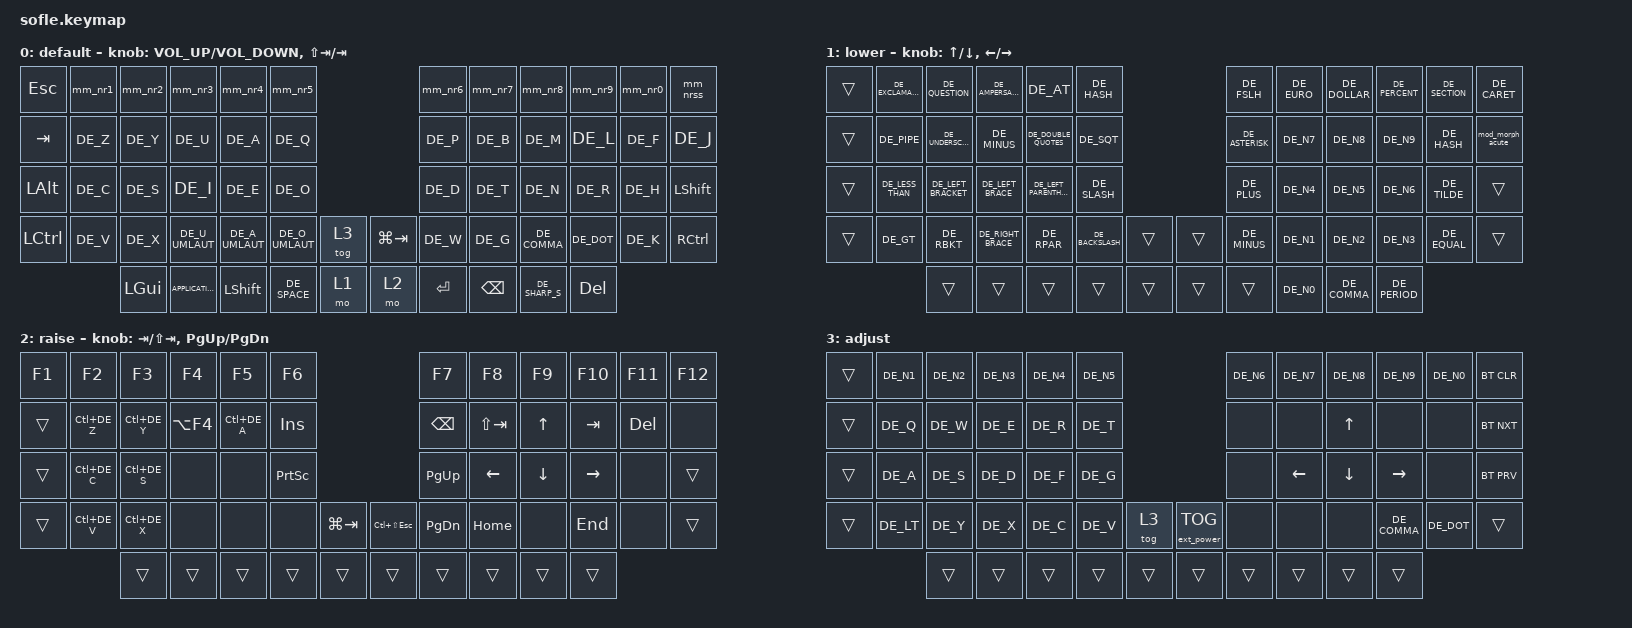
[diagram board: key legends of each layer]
/*
 * Copyright (c) 2020 The ZMK Contributors
 *
 * SPDX-License-Identifier: MIT
 */

#include "keys_de.h"
#include <behaviors/mouse_keys.dtsi>
#include <behaviors.dtsi>
#include <dt-bindings/zmk/bt.h>
#include <dt-bindings/zmk/ext_power.h>
#include <dt-bindings/zmk/keys.h>

#define BASE 0
#define LOWER 1
#define RAISE 2
#define ADJUST 3

/ {
    // Activate ADJUST layer by pressing raise and lower

    conditional_layers { compatible = "zmk,conditional-layers"; };

    behaviors {
        mod_morph_doubleQuote: mod_morph_doubleQuote {
            compatible = "zmk,behavior-mod-morph";
            label = "MOD_MORPH_DOUBLEQUOTE";
            bindings = <&kp DE_DOUBLE_QUOTES>, <&kp DE_SQT>;

            #binding-cells = <0>;
            mods = <(MOD_LSFT)>;
        };

        mod_morph_underscore: mod_morph_underscore {
            compatible = "zmk,behavior-mod-morph";
            label = "MOD_MORPH_UNDERSCORE";
            bindings = <&kp DE_MINUS>, <&kp DE_UNDERSCORE>;

            #binding-cells = <0>;
            mods = <(MOD_LSFT)>;
        };

        mod_dance_parantheses: mod_dance_parantheses {
            compatible = "zmk,behavior-tap-dance";
            label = "MOD_DANCE_PARANTHESES";
            #binding-cells = <0>;
            bindings = <&kp DE_LEFT_PARENTHESIS>, <&kp DE_RPAR>;

            tapping-term-ms = <200>;
        };

        mm_nr1: mm_nr1 {
            compatible = "zmk,behavior-mod-morph";
            label = "MM_NR1";
            bindings = <&kp F1>, <&kp DE_EXCLAMATION>;

            #binding-cells = <0>;
            mods = <(MOD_RSFT|MOD_LSFT)>;
        };

        mm_nr3: mm_nr3 {
            compatible = "zmk,behavior-mod-morph";
            label = "MM_NR3";
            bindings = <&kp F3>, <&kp DE_AMPERSAND>;

            #binding-cells = <0>;
            mods = <(MOD_RSFT|MOD_LSFT)>;
        };

        mm_nr4: mm_nr4 {
            compatible = "zmk,behavior-mod-morph";
            label = "MM_NR4";
            bindings = <&kp F4>, <&kp DE_AT_SIGN>;

            #binding-cells = <0>;
            mods = <(MOD_RSFT|MOD_LSFT)>;
        };

        mm_nr5: mm_nr5 {
            compatible = "zmk,behavior-mod-morph";
            label = "MM_NR5";
            bindings = <&kp F5>, <&kp DE_HASH>;

            #binding-cells = <0>;
            mods = <(MOD_RSFT|MOD_LSFT)>;
        };

        mm_nr6: mm_nr6 {
            compatible = "zmk,behavior-mod-morph";
            label = "MM_NR6";
            bindings = <&kp F6>, <&kp DE_SQT>;

            #binding-cells = <0>;
            mods = <(MOD_RSFT|MOD_LSFT)>;
        };

        mm_nr7: mm_nr7 {
            compatible = "zmk,behavior-mod-morph";
            label = "MM_NR7";
            bindings = <&kp F7>, <&kp DE_DOUBLE_QUOTES>;

            #binding-cells = <0>;
            mods = <(MOD_RSFT|MOD_LSFT)>;
        };

        mm_nr8: mm_nr8 {
            compatible = "zmk,behavior-mod-morph";
            label = "MM_NR8";
            bindings = <&kp F8>, <&kp DE_MINUS>;

            #binding-cells = <0>;
            mods = <(MOD_RSFT|MOD_LSFT)>;
        };

        mm_nr9: mm_nr9 {
            compatible = "zmk,behavior-mod-morph";
            label = "MM_NR9";
            bindings = <&kp F9>, <&kp DE_UNDERSCORE>;

            #binding-cells = <0>;
            mods = <(MOD_RSFT|MOD_LSFT)>;
        };

        mm_nr0: mm_nr0 {
            compatible = "zmk,behavior-mod-morph";
            label = "MM_NR0";
            bindings = <&kp F10>, <&kp DE_EQUAL>;

            #binding-cells = <0>;
            mods = <(MOD_RSFT|MOD_LSFT)>;
        };

        mm_nr2: mm_nr2 {
            compatible = "zmk,behavior-mod-morph";
            label = "MM_NR2";
            bindings = <&kp F2>, <&kp DE_QUESTION>;

            #binding-cells = <0>;
            mods = <(MOD_RSFT|MOD_LSFT)>;
        };

        mm_nrss: mm_nrss {
            compatible = "zmk,behavior-mod-morph";
            label = "MM_NRSS";
            bindings = <&kp DE_SHARP_S>, <&kp DE_CARET>;

            #binding-cells = <0>;
            mods = <(MOD_RSFT|MOD_LSFT)>;
        };

        mod_morph_acute: mod_morph_acute {
            compatible = "zmk,behavior-mod-morph";
            label = "MOD_MORPH_ACUTE";
            bindings = <&kp DE_ACUTE>, <&kp DE_GRAVE>;

            #binding-cells = <0>;
            mods = <(MOD_LSFT|MOD_RSFT)>;
        };

        mod_morph_delete: mod_morph_delete {
            compatible = "zmk,behavior-mod-morph";
            label = "MOD_MORPH_DELETE";
            bindings = <&kp BACKSPACE>, <&kp DELETE>;

            #binding-cells = <0>;
            mods = <(MOD_LSFT)>;
        };

        skq: sticky_key_quick_release {
            compatible = "zmk,behavior-sticky-key";
            #binding-cells = <1>;
            bindings = <&kp>;
            release-after-ms = <500>; // your timeout
            quick-release;             // boolean
            ignore-modifiers;          // keep chaining if you want it
        };
    };

    combos {
        compatible = "zmk,combos";

        shift {
            bindings = <&kp LEFT_SHIFT>;
            key-positions = <54 55>;
        };
    };

    //	&sk {
    //		release-after-ms = <2000>;
    //		quick-release;
    //	};

    keymap {
        compatible = "zmk,keymap";

        default_layer {
            label = "default";

            // ------------------------------------------------------------------------------------------------------------
            // |   `   |  1  |  2  |  3   |  4   |  5   |                   |  6   |  7    |  8    |  9   |   0   |       |
            // |  ESC  |  Q  |  W  |  E   |  R   |  T   |                   |  Y   |  U    |  I    |  O   |   P   | BKSPC |
            // |  TAB  |  A  |  S  |  D   |  F   |  G   |                   |  H   |  J    |  K    |  L   |   ;   |   '   |
            // | SHIFT |  Z  |  X  |  C   |  V   |  B   |  MUTE  |  |       |  N   |  M    |  ,    |  .   |   /   | SHIFT |
            //               | GUI | ALT  | CTRL | LOWER|  ENTER |  | SPACE | RAISE| CTRL  | ALT   | GUI  |

            bindings = <
&kp ESCAPE    &mm_nr1   &mm_nr2   &mm_nr3            &mm_nr4          &mm_nr5                                 &mm_nr6    &mm_nr7        &mm_nr8         &mm_nr9     &mm_nr0   &mm_nrss
&kp TAB       &kp DE_Z  &kp DE_Y  &kp DE_U           &kp DE_A         &kp DE_Q                                &kp DE_P   &kp DE_B       &kp DE_M        &kp DE_L    &kp DE_F  &kp DE_J
&kp LEFT_ALT  &kp DE_C  &kp DE_S  &kp DE_I           &kp DE_E         &kp DE_O                                &kp DE_D   &kp DE_T       &kp DE_N        &kp DE_R    &kp DE_H  &kp LSHIFT
&kp LCTRL     &kp DE_V  &kp DE_X  &kp DE_U_UMLAUT    &kp DE_A_UMLAUT  &kp DE_O_UMLAUT  &tog 3    &kp LG(TAB)  &kp DE_W   &kp DE_G       &kp DE_COMMA    &kp DE_DOT  &kp DE_K  &kp RCTRL
                        &kp LGUI  &kp K_APPLICATION  &kp LEFT_SHIFT   &kp DE_SPACE     &mo 1     &mo 2        &kp ENTER  &kp BACKSPACE  &kp DE_SHARP_S  &kp DELETE
            >;

            sensor-bindings =
                <&inc_dec_kp C_VOLUME_UP C_VOLUME_DOWN>,
                <&inc_dec_kp LS(TAB) TAB>;
        };

        lower_layer {
            label = "lower";

            // TODO: Some binds are waiting for shifted keycode support.
            // ------------------------------------------------------------------------------------------------------------
            // |       |  F1 |  F2 |  F3  |  F4  |  F5  |                   |  F6  |  F7   |  F8   |  F9  |  F10  |  F11  |
            // |   `   |  1  |  2  |  3   |  4   |  5   |                   |  6   |  7    |  8    |  9   |   0   |  F12  |
            // |       |  !  |  @  |  #   |  $   |  %   |                   |  ^   |  &    |  *    |  (   |   )   |   |   |
            // |       |  =  |  -  |  +   |  {   |  }   |        |  |       |  [   |  ]    |  ;    |  :   |   \   |       |
            //               |     |      |      |      |        |  |       |      |       |       |      |

            bindings = <
&trans  &kp DE_EXCLAMATION  &kp DE_QUESTION      &kp DE_AMPERSAND    &kp DE_AT                &kp DE_HASH                         &kp DE_FSLH      &kp DE_EURO  &kp DE_DOLLAR  &kp DE_PERCENT  &kp DE_SECTION  &kp DE_CARET
&trans  &kp DE_PIPE         &kp DE_UNDERSCORE    &kp DE_MINUS        &kp DE_DOUBLE_QUOTES     &kp DE_SQT                          &kp DE_ASTERISK  &kp DE_N7    &kp DE_N8      &kp DE_N9       &kp DE_HASH     &mod_morph_acute
&trans  &kp DE_LESS_THAN    &kp DE_LEFT_BRACKET  &kp DE_LEFT_BRACE   &kp DE_LEFT_PARENTHESIS  &kp DE_SLASH                        &kp DE_PLUS      &kp DE_N4    &kp DE_N5      &kp DE_N6       &kp DE_TILDE    &trans
&trans  &kp DE_GT           &kp DE_RBKT          &kp DE_RIGHT_BRACE  &kp DE_RPAR              &kp DE_BACKSLASH  &trans    &trans  &kp DE_MINUS     &kp DE_N1    &kp DE_N2      &kp DE_N3       &kp DE_EQUAL    &trans
                            &trans               &trans              &trans                   &trans            &trans    &trans  &trans           &kp DE_N0    &kp DE_COMMA   &kp DE_PERIOD
            >;

            sensor-bindings =
                <&inc_dec_kp UP_ARROW DOWN_ARROW>,
                <&inc_dec_kp LEFT_ARROW RIGHT_ARROW>;
        };

        raise_layer {
            label = "raise";

            // ------------------------------------------------------------------------------------------------------------
            // | BTCLR | BT1  | BT2  |  BT3  |  BT4  |  BT5 |                |      |      |       |      |       |       |
            // |       | INS  | PSCR | GUI   |       |      |                | PGUP |      |   ^   |      |       |       |
            // |       | ALT  | CTRL | SHIFT |       | CAPS |                | PGDN |   <- |   v   |  ->  |  DEL  | BKSPC |
            // |       | UNDO | CUT  | COPY  | PASTE |      |      |  |      |      |      |       |      |       |       |
            //                |      |       |       |      |      |  |      |      |      |       |      |

            bindings = <
&kp F1  &kp F2        &kp F3        &kp F4      &kp F5        &kp F6                                              &kp F7         &kp F8       &kp F9    &kp F10    &kp F11     &kp F12
&trans  &kp LC(DE_Z)  &kp LC(DE_Y)  &kp LA(F4)  &kp LC(DE_A)  &kp INSERT                                          &kp BACKSPACE  &kp LS(TAB)  &kp UP    &kp TAB    &kp DELETE  &none
&trans  &kp LC(DE_C)  &kp LC(DE_S)  &none       &none         &kp PRINTSCREEN                                     &kp PG_UP      &kp LEFT     &kp DOWN  &kp RIGHT  &none       &trans
&trans  &kp LC(DE_V)  &kp LC(DE_X)  &none       &none         &none            &kp LG(TAB)    &kp LC(LS(ESCAPE))  &kp PAGE_DOWN  &kp HOME     &none     &kp END    &none       &trans
                      &trans        &trans      &trans        &trans           &trans         &trans              &trans         &trans       &trans    &trans
            >;

            sensor-bindings =
                <&inc_dec_kp TAB LS(TAB)>,
                <&inc_dec_kp PG_UP PG_DN>;
        };

        adjust_layer {
            // ----------------------------------------------------------------------------------------------------------------------------
            // | BTCLR  |  BT1    |  BT2    |   BT3   |   BT4   |   BT5   |                  |      |      |       |      |       |       |
            // | EXTPWR | RGB_HUD | RGB_HUI | RGB_SAD | RGB_SAI | RGB_EFF |                  |      |      |       |      |       |       |
            // |        | RGB_BRD | RGB_BRI |         |         |         |                  |      |      |       |      |       |       |
            // |        |         |         |         |         |         | RGB_TOG | |      |      |      |       |      |       |       |
            //                    |         |         |         |         |         | |      |      |      |       |      |

            label = "adjust";
            bindings = <
&trans  &kp DE_N1  &kp DE_N2  &kp DE_N3  &kp DE_N4  &kp DE_N5                               &kp DE_N6  &kp DE_N7       &kp DE_N8       &kp DE_N9        &kp DE_N0   &bt BT_CLR
&trans  &kp DE_Q   &kp DE_W   &kp DE_E   &kp DE_R   &kp DE_T                                &none      &none           &kp UP_ARROW    &none            &none       &bt BT_NXT
&trans  &kp DE_A   &kp DE_S   &kp DE_D   &kp DE_F   &kp DE_G                                &none      &kp LEFT_ARROW  &kp DOWN_ARROW  &kp RIGHT_ARROW  &none       &bt BT_PRV
&trans  &kp DE_LT  &kp DE_Y   &kp DE_X   &kp DE_C   &kp DE_V   &tog 3    &ext_power EP_TOG  &none      &none           &none           &kp DE_COMMA     &kp DE_DOT  &trans
                   &trans     &trans     &trans     &trans     &trans    &trans             &trans     &trans          &trans          &trans
            >;
        };
    };
};
